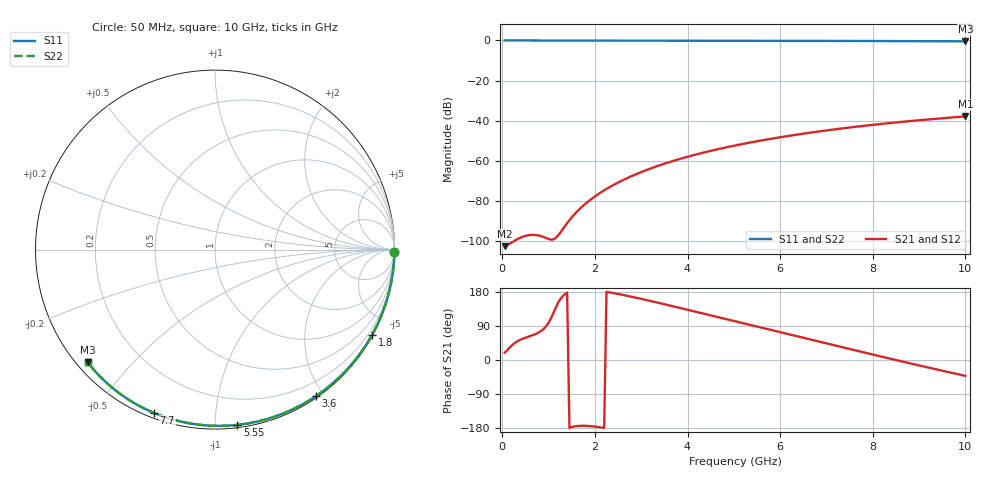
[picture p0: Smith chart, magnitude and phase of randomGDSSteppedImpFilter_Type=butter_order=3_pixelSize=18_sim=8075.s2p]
! freq	dB(S11)	phase(S11)	dB(S12)	phase(S12)
!  dB(S21)	phase(S21)	dB(S22)	phase(S22)
!S-par simulation data
#  GHz  S  DB  R 50
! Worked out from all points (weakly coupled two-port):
!   200 points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, 50 MHz to 10 GHz, reference 50 ohm
!   highest |S21| = -37.83 dB at 10 GHz (marker M1); lowest = -102.5 dB at 50 MHz (marker M2)
!   lowest |S11| = -0.5 dB at 10 GHz (marker M3), VSWR 37.30, Z = 1.53 - j18.9 ohm
!   |S11| at or under -10 dB: nowhere
!   |S22| runs from -0.5 to 0.0 dB; largest |S21 - S12| = 0
!   S11 on the Smith chart (normalised r, x): 50 MHz: open; 1.8 GHz: 0.03, -3.95; 3.6 GHz: 0.02, -1.90; 5.55 GHz: 0.02, -1.14; 7.7 GHz: 0.02, -0.69; 10 GHz: 0.03, -0.38
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0.05  -0.00 -0.8  -102.49 19.5  -102.49 19.5  -0.00 -0.8
0.9  -0.02 -14.3  -98.01 82.7  -98.01 82.7  -0.02 -14.3
1.75  -0.04 -27.6  -82.25 -173.6  -82.25 -173.6  -0.04 -27.6
1.8  -0.04 -28.4  -81.25 -173.8  -81.25 -173.8  -0.04 -28.4
1.85  -0.04 -29.2  -80.30 -174.1  -80.30 -174.1  -0.04 -29.2
1.9  -0.04 -29.9  -79.40 -174.5  -79.40 -174.5  -0.04 -29.9
2.05  -0.04 -32.3  -76.89 -176.5  -76.89 -176.5  -0.04 -32.3
2.25  -0.05 -35.3  -73.96 179.8  -73.96 179.8  -0.05 -35.3
2.45  -0.05 -38.4  -71.39 175.5  -71.39 175.5  -0.05 -38.4
2.65  -0.05 -41.4  -69.09 170.6  -69.09 170.6  -0.05 -41.4
3  -0.06 -46.6  -65.58 161.4  -65.58 161.4  -0.06 -46.6
3.4  -0.07 -52.5  -62.17 150.1  -62.17 150.1  -0.07 -52.5
3.6  -0.07 -55.5  -60.66 144.3  -60.66 144.3  -0.07 -55.5
4.3  -0.09 -65.5  -56.12 123.7  -56.12 123.7  -0.09 -65.5
5.05  -0.12 -76.0  -52.22 101.3  -52.22 101.3  -0.12 -76.0
5.55  -0.14 -82.7  -50.01 86.4  -50.01 86.4  -0.14 -82.7
6.1  -0.16 -90.0  -47.85 70.1  -47.85 70.1  -0.16 -90.0
6.7  -0.19 -97.8  -45.77 52.4  -45.77 52.4  -0.19 -97.8
7.7  -0.25 -110.5  -42.82 23.1  -42.82 23.1  -0.25 -110.5
8.35  -0.30 -118.5  -41.19 4.2  -41.19 4.2  -0.30 -118.5
9.2  -0.38 -128.8  -39.35 -20.0  -39.35 -20.0  -0.38 -128.8
10  -0.47 -138.5  -37.83 -41.9  -37.83 -41.9  -0.47 -138.5
